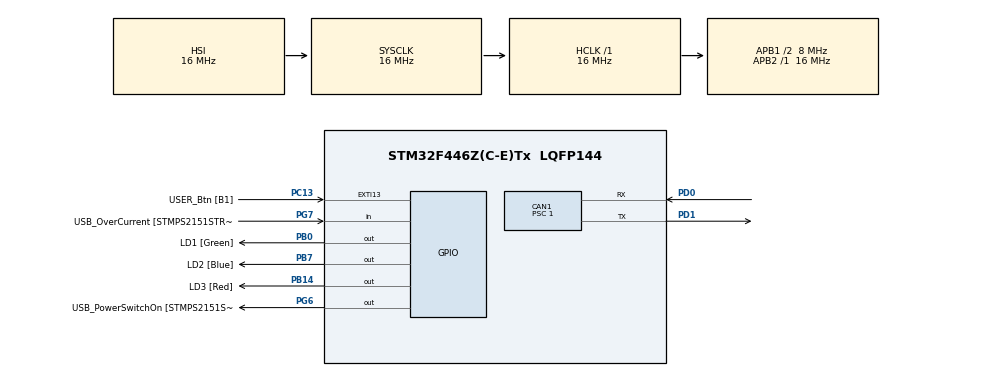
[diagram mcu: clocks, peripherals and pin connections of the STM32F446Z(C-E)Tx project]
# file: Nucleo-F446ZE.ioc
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CAN1.BS1=CAN_BS1_13TQ
CAN1.BS2=CAN_BS2_2TQ
CAN1.CalculateBaudRate=500000
CAN1.CalculateTimeBit=2000
CAN1.CalculateTimeQuantum=125.0
CAN1.Prescaler=1
Mcu.Family=STM32F4
Mcu.Name=STM32F446Z(C-E)Tx
Mcu.Package=LQFP144
NVIC.CAN1_RX0_IRQn=true\:0\:0\:false\:false\:true\:true\:true\:true
NVIC.EXTI15_10_IRQn=true\:0\:0\:false\:false\:true\:true\:true\:true
NVIC.PriorityGroup=NVIC_PRIORITYGROUP_4
PA10.GPIO_Label=USB_ID
PA10.Signal=USB_OTG_FS_ID
PA11.GPIO_Label=USB_DM
PA11.Signal=USB_OTG_FS_DM
PA12.GPIO_Label=USB_DP
PA12.Signal=USB_OTG_FS_DP
PA13.GPIO_Label=TMS
PA13.Mode=Serial_Wire
PA13.Signal=SYS_JTMS-SWDIO
PA14.GPIO_Label=TCK
PA14.Mode=Serial_Wire
PA14.Signal=SYS_JTCK-SWCLK
PA8.GPIO_Label=USB_SOF [TP1]
PA8.Signal=USB_OTG_FS_SOF
PA9.GPIO_Label=USB_VBUS
PA9.Signal=USB_OTG_FS_VBUS
PB0.GPIO_Label=LD1 [Green]
PB0.Signal=GPIO_Output
PB14.GPIO_Label=LD3 [Red]
PB14.Signal=GPIO_Output
PB7.GPIO_Label=LD2 [Blue]
PB7.Signal=GPIO_Output
PC13.GPIO_Label=USER_Btn [B1]
PC13.Signal=GPXTI13
PC14-OSC32_IN.Signal=RCC_OSC32_IN
PC15-OSC32_OUT.Signal=RCC_OSC32_OUT
PD0.Mode=CAN_Activate
PD0.Signal=CAN1_RX
PD1.Mode=CAN_Activate
PD1.Signal=CAN1_TX
PD8.GPIO_Label=STLK_RX [STM32F103CBT6_PA3]
PD8.Signal=USART3_TX
PD9.GPIO_Label=STLK_TX [STM32F103CBT6_PA2]
PD9.Signal=USART3_RX
PG6.GPIO_Label=USB_PowerSwitchOn [STMPS2151STR_EN]
PG6.Signal=GPIO_Output
PG7.GPIO_Label=USB_OverCurrent [STMPS2151STR_FAULT]
PG7.Signal=GPIO_Input
PH0-OSC_IN.GPIO_Label=MCO [STM32F103CBT6_PA8]
PH0-OSC_IN.Signal=RCC_OSC_IN
PH1-OSC_OUT.Signal=RCC_OSC_OUT
ProjectManager.HeapSize=0x200
ProjectManager.StackSize=0x400
ProjectManager.TargetToolchain=STM32CubeIDE
RCC.48MHZClocksFreq_Value=24000000
RCC.AHBFreq_Value=16000000
RCC.APB1CLKDivider=RCC_HCLK_DIV2
RCC.APB1Freq_Value=8000000
RCC.APB1TimFreq_Value=16000000
RCC.APB2Freq_Value=16000000
RCC.APB2TimFreq_Value=16000000
RCC.CortexFreq_Value=16000000
RCC.HCLKFreq_Value=16000000
RCC.HSE_VALUE=8000000
RCC.HSI_VALUE=16000000
RCC.LSE_VALUE=32768
RCC.PLLMUL=RCC_PLL_MUL9
RCC.PRESCALERUSB=RCC_USBCLKSOURCE_PLL_DIV1_5
RCC.SYSCLKFreq_VALUE=16000000
RCC.SYSCLKSourceVirtual=RCC_SYSCLKSOURCE_PLLCLK
RCC.USBFreq_Value=96000000
RCC.VCOOutputFreq_Value=192000000
board=NUCLEO-F446ZE

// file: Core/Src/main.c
/* USER CODE BEGIN Header */
/**
  ******************************************************************************
  * @file           : main.c
  * @brief          : Main program body
  ******************************************************************************
  * @attention
  *
  * Copyright (c) 2023 STMicroelectronics.
  * All rights reserved.
  *
  * This software is licensed under terms that can be found in the LICENSE file
  * in the root directory of this software component.
  * If no LICENSE file comes with this software, it is provided AS-IS.
  *
  ******************************************************************************
  */
/* USER CODE END Header */
#include "main.h"

/* USER CODE BEGIN Includes */
#include <stdio.h>
/* USER CODE END Includes */

CAN_HandleTypeDef hcan1;

void SystemClock_Config(void);
static void MX_GPIO_Init(void);
static void MX_CAN1_Init(void);

/* USER CODE BEGIN 0 */
CAN_TxHeaderTypeDef TxHeader;
CAN_RxHeaderTypeDef RxHeader;

uint8_t TxData[8];
uint8_t RxData[8];

uint32_t TxMailbox;

int datacheck = 0;

void HAL_GPIO_EXTI_Callback(uint16_t GPIO_Pin)
{
	printf("button pressed\n");
	if(GPIO_Pin == USER_Btn_Pin)
	{
		TxData[0]=250;
		TxData[1]=10;

		if(HAL_CAN_AddTxMessage(&hcan1, &TxHeader, TxData, &TxMailbox) != HAL_OK)
		{
			printf("msg NOT sent \n into the error_handler\n");
		    Error_Handler();
		}
		printf("msg sent\n");
	}
}
void HAL_CAN_RxFifo0MsgPendingCallback(CAN_HandleTypeDef *hcan)
{
	printf("RXCALLBACK\n");
	HAL_CAN_GetRxMessage(&hcan1, CAN_RX_FIFO0, &RxHeader, RxData);
	if(RxHeader.DLC == 2)
	{
		datacheck = 1;
		printf("RxData %d, %d\n",RxData[0],RxData[1]);
	}
}
/* USER CODE END 0 */

int main(void)
{

  /* MCU Configuration--------------------------------------------------------*/

  /* Reset of all peripherals, Initializes the Flash interface and the Systick. */
  HAL_Init();

  /* Configure the system clock */
  SystemClock_Config();

  /* Initialize all configured peripherals */
  MX_GPIO_Init();
  MX_CAN1_Init();
  /* USER CODE BEGIN 2 */
  if(HAL_CAN_Start(&hcan1) != HAL_OK)
  {
	  Error_Handler();
  }
  if(HAL_CAN_ActivateNotification(&hcan1, CAN_IT_RX_FIFO0_MSG_PENDING) != HAL_OK)
  {
	  Error_Handler();
  }

  TxHeader.DLC = 2;
  TxHeader.IDE = CAN_ID_STD;
  TxHeader.RTR = CAN_RTR_DATA;
  TxHeader.StdId = 0x446;
  /* USER CODE END 2 */

  /* Infinite loop */
  while (1)
  {

    /* USER CODE BEGIN 3 */
	  if(datacheck)
	  {
		  for(int i=0; i<RxData[1]; i++)
		  {
			  HAL_GPIO_TogglePin(LD1_GPIO_Port, LD1_Pin);
			  HAL_GPIO_TogglePin(LD2_GPIO_Port, LD2_Pin);
			  HAL_GPIO_TogglePin(LD3_GPIO_Port, LD3_Pin);
			  HAL_Delay(RxData[0]);
		  }
		  datacheck = 0;
	  }
  }
  /* USER CODE END 3 */
}

void SystemClock_Config(void)
{
  RCC_OscInitTypeDef RCC_OscInitStruct = {0};
  RCC_ClkInitTypeDef RCC_ClkInitStruct = {0};

  /** Configure the main internal regulator output voltage
  */
  __HAL_RCC_PWR_CLK_ENABLE();
  __HAL_PWR_VOLTAGESCALING_CONFIG(PWR_REGULATOR_VOLTAGE_SCALE3);

  /** Initializes the RCC Oscillators according to the specified parameters
  * in the RCC_OscInitTypeDef structure.
  */
  RCC_OscInitStruct.OscillatorType = RCC_OSCILLATORTYPE_HSI;
  RCC_OscInitStruct.HSIState = RCC_HSI_ON;
  RCC_OscInitStruct.HSICalibrationValue = RCC_HSICALIBRATION_DEFAULT;
  RCC_OscInitStruct.PLL.PLLState = RCC_PLL_NONE;
  if (HAL_RCC_OscConfig(&RCC_OscInitStruct) != HAL_OK)
  {
    Error_Handler();
  }

  /** Initializes the CPU, AHB and APB buses clocks
  */
  RCC_ClkInitStruct.ClockType = RCC_CLOCKTYPE_HCLK|RCC_CLOCKTYPE_SYSCLK
                              |RCC_CLOCKTYPE_PCLK1|RCC_CLOCKTYPE_PCLK2;
  RCC_ClkInitStruct.SYSCLKSource = RCC_SYSCLKSOURCE_HSI;
  RCC_ClkInitStruct.AHBCLKDivider = RCC_SYSCLK_DIV1;
  RCC_ClkInitStruct.APB1CLKDivider = RCC_HCLK_DIV2;
  RCC_ClkInitStruct.APB2CLKDivider = RCC_HCLK_DIV1;

  if (HAL_RCC_ClockConfig(&RCC_ClkInitStruct, FLASH_LATENCY_0) != HAL_OK)
  {
    Error_Handler();
  }
}

static void MX_CAN1_Init(void)
{

  hcan1.Instance = CAN1;
  hcan1.Init.Prescaler = 1;
  hcan1.Init.Mode = CAN_MODE_NORMAL;
  hcan1.Init.SyncJumpWidth = CAN_SJW_1TQ;
  hcan1.Init.TimeSeg1 = CAN_BS1_13TQ;
  hcan1.Init.TimeSeg2 = CAN_BS2_2TQ;
  hcan1.Init.TimeTriggeredMode = DISABLE;
  hcan1.Init.AutoBusOff = DISABLE;
  hcan1.Init.AutoWakeUp = DISABLE;
  hcan1.Init.AutoRetransmission = DISABLE;
  hcan1.Init.ReceiveFifoLocked = DISABLE;
  hcan1.Init.TransmitFifoPriority = DISABLE;
  if (HAL_CAN_Init(&hcan1) != HAL_OK)
  {
    Error_Handler();
  }
  /* USER CODE BEGIN CAN1_Init 2 */
  CAN_FilterTypeDef filter;

  filter.FilterActivation = CAN_FILTER_ENABLE;
  filter.FilterBank = 0;//18;
  filter.FilterFIFOAssignment = CAN_FILTER_FIFO0;
  filter.FilterIdHigh = 0x0000;//0x103<<5;
  filter.FilterIdLow = 0x0000;
  filter.FilterMaskIdHigh = 0x0000;//0x103<<5;
  filter.FilterMaskIdLow = 0x0000;
  filter.FilterMode = CAN_FILTERMODE_IDMASK;
  filter.FilterScale = CAN_FILTERSCALE_32BIT;
  filter.SlaveStartFilterBank = 0;//20;

  if(HAL_CAN_ConfigFilter(&hcan1, &filter) != HAL_OK)
  {
	  Error_Handler();
  }
  /* USER CODE END CAN1_Init 2 */

}

static void MX_GPIO_Init(void)
{
  GPIO_InitTypeDef GPIO_InitStruct = {0};

  /* GPIO Ports Clock Enable */
  __HAL_RCC_GPIOC_CLK_ENABLE();
  __HAL_RCC_GPIOH_CLK_ENABLE();
  __HAL_RCC_GPIOB_CLK_ENABLE();
  __HAL_RCC_GPIOD_CLK_ENABLE();
  __HAL_RCC_GPIOG_CLK_ENABLE();
  __HAL_RCC_GPIOA_CLK_ENABLE();

  /*Configure GPIO pin Output Level */
  HAL_GPIO_WritePin(GPIOB, LD1_Pin|LD3_Pin|LD2_Pin, GPIO_PIN_RESET);

  /*Configure GPIO pin Output Level */
  HAL_GPIO_WritePin(USB_PowerSwitchOn_GPIO_Port, USB_PowerSwitchOn_Pin, GPIO_PIN_RESET);

  /*Configure GPIO pin : USER_Btn_Pin */
  GPIO_InitStruct.Pin = USER_Btn_Pin;
  GPIO_InitStruct.Mode = GPIO_MODE_IT_RISING;
  GPIO_InitStruct.Pull = GPIO_NOPULL;
  HAL_GPIO_Init(USER_Btn_GPIO_Port, &GPIO_InitStruct);

  /*Configure GPIO pins : LD1_Pin LD3_Pin LD2_Pin */
  GPIO_InitStruct.Pin = LD1_Pin|LD3_Pin|LD2_Pin;
  GPIO_InitStruct.Mode = GPIO_MODE_OUTPUT_PP;
  GPIO_InitStruct.Pull = GPIO_NOPULL;
  GPIO_InitStruct.Speed = GPIO_SPEED_FREQ_LOW;
  HAL_GPIO_Init(GPIOB, &GPIO_InitStruct);

  /*Configure GPIO pins : STLK_RX_Pin STLK_TX_Pin */
  GPIO_InitStruct.Pin = STLK_RX_Pin|STLK_TX_Pin;
  GPIO_InitStruct.Mode = GPIO_MODE_AF_PP;
  GPIO_InitStruct.Pull = GPIO_NOPULL;
  GPIO_InitStruct.Speed = GPIO_SPEED_FREQ_VERY_HIGH;
  GPIO_InitStruct.Alternate = GPIO_AF7_USART3;
  HAL_GPIO_Init(GPIOD, &GPIO_InitStruct);

  /*Configure GPIO pin : USB_PowerSwitchOn_Pin */
  GPIO_InitStruct.Pin = USB_PowerSwitchOn_Pin;
  GPIO_InitStruct.Mode = GPIO_MODE_OUTPUT_PP;
  GPIO_InitStruct.Pull = GPIO_NOPULL;
  GPIO_InitStruct.Speed = GPIO_SPEED_FREQ_LOW;
  HAL_GPIO_Init(USB_PowerSwitchOn_GPIO_Port, &GPIO_InitStruct);

  /*Configure GPIO pin : USB_OverCurrent_Pin */
  GPIO_InitStruct.Pin = USB_OverCurrent_Pin;
  GPIO_InitStruct.Mode = GPIO_MODE_INPUT;
  GPIO_InitStruct.Pull = GPIO_NOPULL;
  HAL_GPIO_Init(USB_OverCurrent_GPIO_Port, &GPIO_InitStruct);

  /*Configure GPIO pins : USB_SOF_Pin USB_ID_Pin USB_DM_Pin USB_DP_Pin */
  GPIO_InitStruct.Pin = USB_SOF_Pin|USB_ID_Pin|USB_DM_Pin|USB_DP_Pin;
  GPIO_InitStruct.Mode = GPIO_MODE_AF_PP;
  GPIO_InitStruct.Pull = GPIO_NOPULL;
  GPIO_InitStruct.Speed = GPIO_SPEED_FREQ_VERY_HIGH;
  GPIO_InitStruct.Alternate = GPIO_AF10_OTG_FS;
  HAL_GPIO_Init(GPIOA, &GPIO_InitStruct);

  /*Configure GPIO pin : USB_VBUS_Pin */
  GPIO_InitStruct.Pin = USB_VBUS_Pin;
  GPIO_InitStruct.Mode = GPIO_MODE_INPUT;
  GPIO_InitStruct.Pull = GPIO_NOPULL;
  HAL_GPIO_Init(USB_VBUS_GPIO_Port, &GPIO_InitStruct);

  /* EXTI interrupt init*/
  HAL_NVIC_SetPriority(EXTI15_10_IRQn, 0, 0);
  HAL_NVIC_EnableIRQ(EXTI15_10_IRQn);

}

void Error_Handler(void)
{
  __disable_irq();
  while (1)
  {
  }
}
